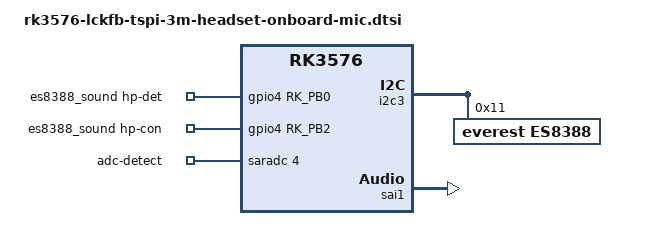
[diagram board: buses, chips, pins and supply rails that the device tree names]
/********************************************************************
 * SPDX-License-Identifier: (GPL-2.0+ OR MIT)
 * 
 * Copyright (c) 2023 Rockchip Electronics Co., Ltd.
 * Copyright (c) 2026 LCKFB <lckfb@sz-jlc.com>
 *********************************************************************
 * Wiki-(Chinese)：https://wiki.lckfb.com/
 * Wiki-(English)：https://wiki.lckfb.com/en/
 *********************************************************************/


/*-----------------------------------------------------------
 * ES8388 Audio Codec Configuration
 *----------------------------------------------------------*/
/ {
	es8388_sound: es8388-sound {
		status = "okay";
		compatible = "rockchip,multicodecs-card";
		rockchip,card-name = "rockchip-es8388";
		hp-det-gpio = <&gpio4 RK_PB0 GPIO_ACTIVE_HIGH>;
		hp-con-gpio = <&gpio4 RK_PB2 GPIO_ACTIVE_HIGH>;
		io-channels = <&saradc 4>;
		io-channel-names = "adc-detect";
		keyup-threshold-microvolt = <1800000>;
		poll-interval = <100>;
		rockchip,format = "i2s";
		rockchip,mclk-fs = <256>;
		rockchip,cpu = <&sai1>;
		rockchip,codec = <&es8388>;
		rockchip,audio-routing =
			"Headphone", "LOUT1",
			"Headphone", "ROUT1",
			"Headphone", "Headphone Power",
			"Headphone", "Headphone Power",
			"LINPUT1", "Main Mic",
			"LINPUT2", "Main Mic",
			"RINPUT1", "Headset Mic",
			"RINPUT2", "Headset Mic";
		pinctrl-names = "default";
		pinctrl-0 = <&hp_det>;
		play-pause-key {
			label = "playpause";
			linux,code = <KEY_PLAYPAUSE>;
			press-threshold-microvolt = <2000>;
		};

		previous-song-key {
			label = "previoussong";
			linux,code = <KEY_PREVIOUSSONG>;
			press-threshold-microvolt = <145000>;
		};

		next-song-key {
			label = "nextsong";
			linux,code = <KEY_NEXTSONG>;
			press-threshold-microvolt = <290000>;
		};
	};
};


&i2c3 {
	pinctrl-names = "default";
	pinctrl-0 = <&i2c3m0_xfer>;
	status = "okay";

	es8388: es8388@11 {
		status = "okay";
		#sound-dai-cells = <0>;
		compatible = "everest,es8388", "everest,es8323";
		reg = <0x11>;
		clocks = <&mclkout_sai1>;
		clock-names = "mclk";
		assigned-clocks = <&mclkout_sai1>;
		assigned-clock-rates = <12288000>;
		pinctrl-names = "default";
		pinctrl-0 = <&sai1m0_mclk>;
	};
};


&sai1 {
	status = "okay";
	rockchip,sai-tx-route = <2 1 0 3>;
	pinctrl-names = "default";
	pinctrl-0 = <&sai1m0_lrck
			&sai1m0_sclk
			&sai1m0_sdi0
			&sai1m0_sdo2>;
};



&pinctrl {
	headphone {
		hp_det: hp-det {
			rockchip,pins = <4 RK_PB0 RK_FUNC_GPIO &pcfg_pull_up>;
		};
	};
};
